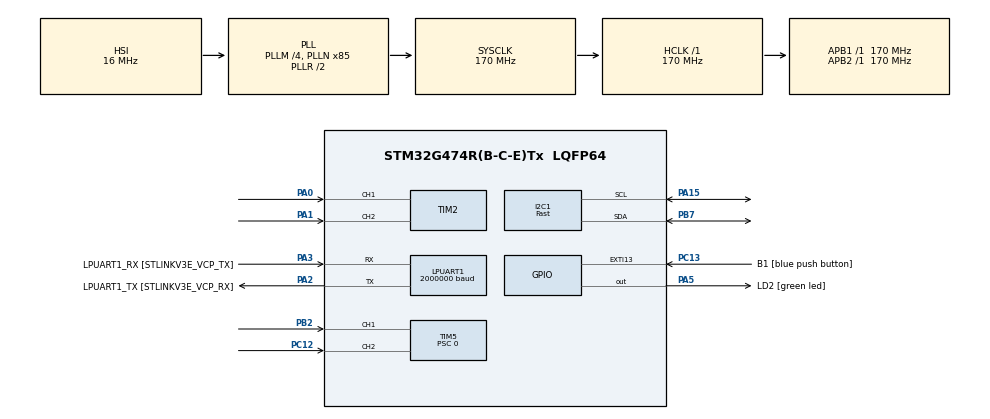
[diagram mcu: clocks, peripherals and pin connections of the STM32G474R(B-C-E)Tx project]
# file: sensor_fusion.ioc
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Dma.LPUART1_RX.0.Direction=DMA_PERIPH_TO_MEMORY
Dma.LPUART1_RX.0.EventEnable=DISABLE
Dma.LPUART1_RX.0.Instance=DMA1_Channel1
Dma.LPUART1_RX.0.MemDataAlignment=DMA_MDATAALIGN_BYTE
Dma.LPUART1_RX.0.MemInc=DMA_MINC_ENABLE
Dma.LPUART1_RX.0.Mode=DMA_CIRCULAR
Dma.LPUART1_RX.0.PeriphDataAlignment=DMA_PDATAALIGN_BYTE
Dma.LPUART1_RX.0.PeriphInc=DMA_PINC_DISABLE
Dma.LPUART1_RX.0.Polarity=HAL_DMAMUX_REQ_GEN_RISING
Dma.LPUART1_RX.0.Priority=DMA_PRIORITY_VERY_HIGH
Dma.LPUART1_RX.0.RequestNumber=1
Dma.LPUART1_RX.0.SignalID=NONE
Dma.LPUART1_RX.0.SyncEnable=DISABLE
Dma.LPUART1_RX.0.SyncPolarity=HAL_DMAMUX_SYNC_NO_EVENT
Dma.LPUART1_RX.0.SyncRequestNumber=1
Dma.LPUART1_RX.0.SyncSignalID=NONE
Dma.LPUART1_TX.1.Direction=DMA_MEMORY_TO_PERIPH
Dma.LPUART1_TX.1.EventEnable=DISABLE
Dma.LPUART1_TX.1.Instance=DMA1_Channel2
Dma.LPUART1_TX.1.MemDataAlignment=DMA_MDATAALIGN_BYTE
Dma.LPUART1_TX.1.MemInc=DMA_MINC_ENABLE
Dma.LPUART1_TX.1.Mode=DMA_NORMAL
Dma.LPUART1_TX.1.PeriphDataAlignment=DMA_PDATAALIGN_BYTE
Dma.LPUART1_TX.1.PeriphInc=DMA_PINC_DISABLE
Dma.LPUART1_TX.1.Polarity=HAL_DMAMUX_REQ_GEN_RISING
Dma.LPUART1_TX.1.Priority=DMA_PRIORITY_VERY_HIGH
Dma.LPUART1_TX.1.RequestNumber=1
Dma.LPUART1_TX.1.SignalID=NONE
Dma.LPUART1_TX.1.SyncEnable=DISABLE
Dma.LPUART1_TX.1.SyncPolarity=HAL_DMAMUX_SYNC_NO_EVENT
Dma.LPUART1_TX.1.SyncRequestNumber=1
Dma.LPUART1_TX.1.SyncSignalID=NONE
Dma.Request0=LPUART1_RX
Dma.Request1=LPUART1_TX
FREERTOS.Tasks01=defaultTask,24,3000,StartDefaultTask,As weak,NULL,Static,defaultTaskBuffer,defaultTaskControlBlock
FREERTOS.configENABLE_FPU=1
I2C1.I2C_Speed_Mode=I2C_Fast
I2C1.Timing=0x40621236
IWDG.Reload=2499
LPUART1.BaudRate=2000000
Mcu.Family=STM32G4
Mcu.Name=STM32G474R(B-C-E)Tx
Mcu.Package=LQFP64
NVIC.DMA1_Channel1_IRQn=true\:5\:0\:false\:false\:true\:true\:false\:true\:true
NVIC.DMA1_Channel2_IRQn=true\:5\:0\:false\:false\:true\:true\:false\:true\:true
NVIC.EXTI15_10_IRQn=true\:5\:0\:false\:false\:true\:true\:true\:true\:true
NVIC.LPUART1_IRQn=true\:5\:0\:false\:false\:true\:true\:true\:true\:true
NVIC.PriorityGroup=NVIC_PRIORITYGROUP_4
NVIC.TIM1_UP_TIM16_IRQn=true\:5\:0\:false\:false\:true\:false\:false\:true\:true
NVIC.TimeBase=TIM1_UP_TIM16_IRQn
NVIC.TimeBaseIP=TIM1
PA0.Signal=S_TIM2_CH1
PA1.Signal=S_TIM2_CH2
PA13.GPIO_Label=T_SWDIO
PA13.Signal=SYS_JTMS-SWDIO
PA14.GPIO_Label=T_SWCLK
PA14.Signal=SYS_JTCK-SWCLK
PA15.Mode=I2C
PA15.Signal=I2C1_SCL
PA2.GPIO_Label=LPUART1_TX [STLINKV3E_VCP_RX]
PA2.Mode=Asynchronous
PA2.Signal=LPUART1_TX
PA3.GPIO_Label=LPUART1_RX [STLINKV3E_VCP_TX]
PA3.Mode=Asynchronous
PA3.Signal=LPUART1_RX
PA5.GPIO_Label=LD2 [green led]
PA5.Signal=GPIO_Output
PA7.Signal=S_TIM3_CH2
PB2.Signal=S_TIM5_CH1
PB3.GPIO_Label=T_SWO
PB3.Signal=SYS_JTDO-SWO
PB7.Mode=I2C
PB7.Signal=I2C1_SDA
PC12.Signal=S_TIM5_CH2
PC13.GPIO_Label=B1 [blue push button]
PC13.Signal=GPXTI13
PC14-OSC32_IN.GPIO_Label=RCC_OSC32_IN
PC14-OSC32_IN.Signal=RCC_OSC32_IN
PC15-OSC32_OUT.GPIO_Label=RCC_OSC32_OUT
PC15-OSC32_OUT.Signal=RCC_OSC32_OUT
PF0-OSC_IN.GPIO_Label=RCC_OSC_IN
PF0-OSC_IN.Signal=RCC_OSC_IN
PF1-OSC_OUT.GPIO_Label=RCC_OSC_OUT
PF1-OSC_OUT.Signal=RCC_OSC_OUT
ProjectManager.HeapSize=0x200
ProjectManager.StackSize=0x400
ProjectManager.TargetToolchain=STM32CubeIDE
RCC.ADC12Freq_Value=170000000
RCC.ADC345Freq_Value=170000000
RCC.AHBFreq_Value=170000000
RCC.APB1Freq_Value=170000000
RCC.APB1TimFreq_Value=170000000
RCC.APB2Freq_Value=170000000
RCC.APB2TimFreq_Value=170000000
RCC.CortexFreq_Value=170000000
RCC.EXTERNAL_CLOCK_VALUE=12288000
RCC.HCLKFreq_Value=170000000
RCC.HSE_VALUE=24000000
RCC.HSI48_VALUE=48000000
RCC.HSI_VALUE=16000000
RCC.LSE_VALUE=32768
RCC.PLLM=RCC_PLLM_DIV4
RCC.PLLN=85
RCC.RTCClockSelection=RCC_RTCCLKSOURCE_LSE
RCC.SYSCLKFreq_VALUE=170000000
RCC.SYSCLKSource=RCC_SYSCLKSOURCE_PLLCLK
RCC.USBFreq_Value=170000000
RCC.VCOOutputFreq_Value=340000000
SH.S_TIM2_CH1.0=TIM2_CH1,Encoder_Interface
SH.S_TIM2_CH2.0=TIM2_CH2,Encoder_Interface
SH.S_TIM3_CH2.0=TIM3_CH2
SH.S_TIM5_CH1.0=TIM5_CH1,Encoder_Interface
SH.S_TIM5_CH2.0=TIM5_CH2,Encoder_Interface
TIM2.EncoderMode=TIM_ENCODERMODE_TI12
TIM5.EncoderMode=TIM_ENCODERMODE_TI12
TIM5.Prescaler=0
VP_FREERTOS_VS_CMSIS_V2.Mode=CMSIS_V2
VP_IWDG_VS_IWDG.Mode=IWDG_Activate
VP_SYS_VS_DBSignals.Mode=DisableDeadBatterySignals
VP_SYS_VS_tim1.Mode=TIM1
board=NUCLEO-G474RE

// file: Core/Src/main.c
/* USER CODE BEGIN Header */
/**
  ******************************************************************************
  * @file           : main.c
  * @brief          : Main program body
  ******************************************************************************
  * @attention
  *
  * Copyright (c) 2025 STMicroelectronics.
  * All rights reserved.
  *
  * This software is licensed under terms that can be found in the LICENSE file
  * in the root directory of this software component.
  * If no LICENSE file comes with this software, it is provided AS-IS.
  *
  ******************************************************************************
  */
/* USER CODE END Header */
#include "main.h"
#include "cmsis_os.h"
#include "dma.h"
#include "i2c.h"
#include "iwdg.h"
#include "usart.h"
#include "tim.h"
#include "gpio.h"

/* USER CODE BEGIN Includes */
#include <rcl/rcl.h>
#include <rcl/error_handling.h>
#include <rclc/rclc.h>
#include <rclc/executor.h>
#include <uxr/client/transport.h>
#include <rmw_microxrcedds_c/config.h>
#include <rmw_microros/rmw_microros.h>
#include <rcl/init_options.h>
#include <std_msgs/msg/int32.h>
#include <std_msgs/msg/float32_multi_array.h>
#include <math.h>

#include <micro_ros_utilities/string_utilities.h>
#include <sensor_msgs/msg/imu.h>
#include <mpu6050.h>
#include <math.h>
#include <sensor_interface/msg/sensor_parameter.h>
#include <std_msgs/msg/u_int32.h>

/* USER CODE END Includes */

/* USER CODE BEGIN PD */
#define G2M_S2 9.81 // Gravity to Meter per Sec square
#define DEG2RAD M_PI / 180.0 // Degree to Radian
/* USER CODE END PD */

/* USER CODE BEGIN PM */
#define RCSOFTCHECK(fn) if (fn != RCL_RET_OK) {};
/* USER CODE END PM */

/* USER CODE BEGIN PV */
  rclc_support_t support;
  rcl_allocator_t allocator;
  rcl_node_t node;
  rcl_init_options_t init_options;
  rcl_timer_t mpu6050_timer;
  rclc_executor_t executor;

  // ------- IMU -------
  MPU6050_t MPU6050;

  // Sensor Publisher
  rcl_publisher_t sensor_publisher;
  sensor_interface__msg__SensorParameter sensor_msg;

  // encoder read
  uint32_t encoder1;
  uint32_t encoder2;

/* USER CODE END PV */

void SystemClock_Config(void);
void MX_FREERTOS_Init(void);
/* USER CODE BEGIN PFP */
bool cubemx_transport_open(struct uxrCustomTransport *transport);
bool cubemx_transport_close(struct uxrCustomTransport *transport);
size_t cubemx_transport_write(struct uxrCustomTransport *transport,
		const uint8_t *buf, size_t len, uint8_t *err);
size_t cubemx_transport_read(struct uxrCustomTransport *transport, uint8_t *buf,
		size_t len, int timeout, uint8_t *err);

void* microros_allocate(size_t size, void *state);
void microros_deallocate(void *pointer, void *state);
void* microros_reallocate(void *pointer, size_t size, void *state);
void* microros_zero_allocate(size_t number_of_elements, size_t size_of_element,
		void *state);
//uint64_t micros();
//void QEIEncoderPosVel_Update1();

/* USER CODE END PFP */

/* USER CODE BEGIN 0 */

void timer_callback(rcl_timer_t * timer, int64_t last_call_time)
{
	if (timer != NULL) {

		// for refresh auto just once
		HAL_IWDG_Refresh(&hiwdg);

		MPU6050_Read_All(&hi2c1, &MPU6050);

		encoder1 = __HAL_TIM_GET_COUNTER(&htim2);
		encoder2 = __HAL_TIM_GET_COUNTER(&htim5);

		sensor_msg.encoder1.data = encoder1;
		sensor_msg.encoder2.data = encoder2;
		sensor_msg.imu_mpu6050.header.stamp.sec = rmw_uros_epoch_millis() / 1000; // sec
		sensor_msg.imu_mpu6050.header.stamp.nanosec = rmw_uros_epoch_nanos();
		sensor_msg.imu_mpu6050.linear_acceleration.x = G2M_S2 * MPU6050.Ax; // translation_x_acc (m/s^2)
		sensor_msg.imu_mpu6050.linear_acceleration.y = G2M_S2 * MPU6050.Ay;
		sensor_msg.imu_mpu6050.linear_acceleration.z = G2M_S2 * MPU6050.Az;
		sensor_msg.imu_mpu6050.angular_velocity.x = DEG2RAD * MPU6050.Gx; // rotation_x_vel (rad/s)
		sensor_msg.imu_mpu6050.angular_velocity.y = DEG2RAD * MPU6050.Gy;
		sensor_msg.imu_mpu6050.angular_velocity.z = DEG2RAD * MPU6050.Gz;

		RCSOFTCHECK(rcl_publish(&sensor_publisher, &sensor_msg, NULL));

	}
}

void StartDefaultTask(void *argument)
{
  /* USER CODE BEGIN 5 */

  // micro-ROS configuration

  rmw_uros_set_custom_transport(
    true,
    (void *) &hlpuart1,
    cubemx_transport_open,
    cubemx_transport_close,
    cubemx_transport_write,
    cubemx_transport_read);

  rcl_allocator_t freeRTOS_allocator = rcutils_get_zero_initialized_allocator();
  freeRTOS_allocator.allocate = microros_allocate;
  freeRTOS_allocator.deallocate = microros_deallocate;
  freeRTOS_allocator.reallocate = microros_reallocate;
  freeRTOS_allocator.zero_allocate =  microros_zero_allocate;

  if (!rcutils_set_default_allocator(&freeRTOS_allocator)) {
      printf("Error on default allocators (line %d)\n", __LINE__);
  }

  // micro-ROS app
  allocator = rcl_get_default_allocator();

  //create init_options
  init_options = rcl_get_zero_initialized_init_options();
  RCSOFTCHECK(rcl_init_options_init(&init_options, allocator));
  RCSOFTCHECK(rcl_init_options_set_domain_id(&init_options, 16));

  rclc_support_init_with_options(&support, 0, NULL, &init_options, &allocator);

  // create node
  rclc_node_init_default(&node, "sensor_fusion_node", "", &support);

  // sync timer
  rmw_uros_sync_session(1000);

  // create timer
  rclc_timer_init_default(
	  &mpu6050_timer,
	  &support,
	  RCL_MS_TO_NS(10),
	  timer_callback
  );

  rclc_publisher_init_best_effort(
      &sensor_publisher,
      &node,
      ROSIDL_GET_MSG_TYPE_SUPPORT(sensor_interface, msg, SensorParameter),
      "sensor_parameter_publisher"
  );
  sensor_interface__msg__SensorParameter__init(&sensor_msg);
  std_msgs__msg__UInt32__init(&sensor_msg.encoder1);
  std_msgs__msg__UInt32__init(&sensor_msg.encoder2);
  sensor_msgs__msg__Imu__init(&sensor_msg.imu_mpu6050);

  sensor_msg.imu_mpu6050.header.frame_id = micro_ros_string_utilities_init("imu_frame");

  // create executor
  executor = rclc_executor_get_zero_initialized_executor();
  rclc_executor_init(&executor, &support.context, 1, &allocator); // mpu6050_timer_callback
  rclc_executor_add_timer(&executor, &mpu6050_timer);

  rclc_executor_spin(&executor);

  for(;;)
  {
    osDelay(10);
  }
  /* USER CODE END 5 */
}
/* USER CODE END 0 */

int main(void)
{

  /* MCU Configuration--------------------------------------------------------*/

  /* Reset of all peripherals, Initializes the Flash interface and the Systick. */
  HAL_Init();

  /* Configure the system clock */
  SystemClock_Config();

  /* Initialize all configured peripherals */
  MX_GPIO_Init();
  MX_DMA_Init();
  MX_LPUART1_UART_Init();
  MX_I2C1_Init();
  MX_IWDG_Init();
  MX_TIM5_Init();
  MX_TIM2_Init();
  /* USER CODE BEGIN 2 */

  // encoder vel
  HAL_TIM_Encoder_Start(&htim2,TIM_CHANNEL_ALL);
  HAL_TIM_Encoder_Start(&htim5, TIM_CHANNEL_ALL);

  // IMU read
  while (MPU6050_Init(&hi2c1) == 1);
  /* USER CODE END 2 */

  /* Init scheduler */
  osKernelInitialize();  /* Call init function for freertos objects (in cmsis_os2.c) */
  MX_FREERTOS_Init();

  /* Start scheduler */
  osKernelStart();

  /* We should never get here as control is now taken by the scheduler */

  /* Infinite loop */
  while (1)
  {

  }
}

void SystemClock_Config(void)
{
  RCC_OscInitTypeDef RCC_OscInitStruct = {0};
  RCC_ClkInitTypeDef RCC_ClkInitStruct = {0};

  /** Configure the main internal regulator output voltage
  */
  HAL_PWREx_ControlVoltageScaling(PWR_REGULATOR_VOLTAGE_SCALE1_BOOST);

  /** Initializes the RCC Oscillators according to the specified parameters
  * in the RCC_OscInitTypeDef structure.
  */
  RCC_OscInitStruct.OscillatorType = RCC_OSCILLATORTYPE_HSI|RCC_OSCILLATORTYPE_LSI;
  RCC_OscInitStruct.HSIState = RCC_HSI_ON;
  RCC_OscInitStruct.HSICalibrationValue = RCC_HSICALIBRATION_DEFAULT;
  RCC_OscInitStruct.LSIState = RCC_LSI_ON;
  RCC_OscInitStruct.PLL.PLLState = RCC_PLL_ON;
  RCC_OscInitStruct.PLL.PLLSource = RCC_PLLSOURCE_HSI;
  RCC_OscInitStruct.PLL.PLLM = RCC_PLLM_DIV4;
  RCC_OscInitStruct.PLL.PLLN = 85;
  RCC_OscInitStruct.PLL.PLLP = RCC_PLLP_DIV2;
  RCC_OscInitStruct.PLL.PLLQ = RCC_PLLQ_DIV2;
  RCC_OscInitStruct.PLL.PLLR = RCC_PLLR_DIV2;
  if (HAL_RCC_OscConfig(&RCC_OscInitStruct) != HAL_OK)
  {
    Error_Handler();
  }

  /** Initializes the CPU, AHB and APB buses clocks
  */
  RCC_ClkInitStruct.ClockType = RCC_CLOCKTYPE_HCLK|RCC_CLOCKTYPE_SYSCLK
                              |RCC_CLOCKTYPE_PCLK1|RCC_CLOCKTYPE_PCLK2;
  RCC_ClkInitStruct.SYSCLKSource = RCC_SYSCLKSOURCE_PLLCLK;
  RCC_ClkInitStruct.AHBCLKDivider = RCC_SYSCLK_DIV1;
  RCC_ClkInitStruct.APB1CLKDivider = RCC_HCLK_DIV1;
  RCC_ClkInitStruct.APB2CLKDivider = RCC_HCLK_DIV1;

  if (HAL_RCC_ClockConfig(&RCC_ClkInitStruct, FLASH_LATENCY_4) != HAL_OK)
  {
    Error_Handler();
  }
}

void HAL_TIM_PeriodElapsedCallback(TIM_HandleTypeDef *htim)
{
  if (htim->Instance == TIM1)
  {
    HAL_IncTick();
  }
}

void Error_Handler(void)
{
  __disable_irq();
  while (1)
  {
  }
}
